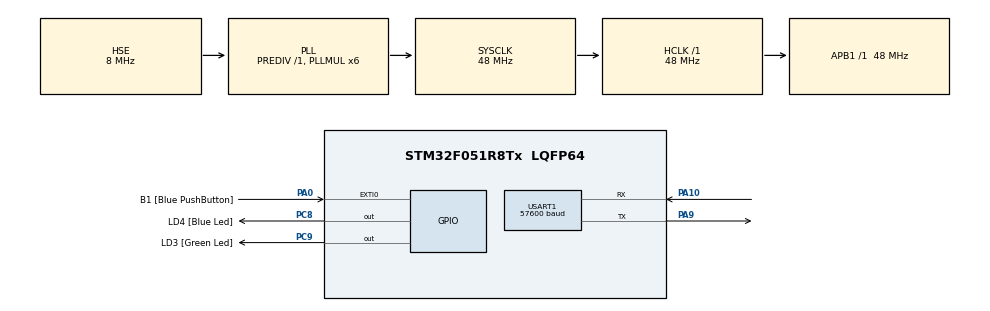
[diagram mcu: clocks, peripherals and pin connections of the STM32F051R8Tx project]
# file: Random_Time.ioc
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Mcu.Family=STM32F0
Mcu.Name=STM32F051R8Tx
Mcu.Package=LQFP64
PA0.GPIO_Label=B1 [Blue PushButton]
PA0.GPIO_ModeDefaultEXTI=GPIO_MODE_EVT_RISING
PA0.Signal=GPXTI0
PA10.Mode=Asynchronous
PA10.Signal=USART1_RX
PA13.GPIO_Label=SWDIO
PA13.Mode=Serial_Wire
PA13.Signal=SYS_SWDIO
PA14.GPIO_Label=SWCLK
PA14.Mode=Serial_Wire
PA14.Signal=SYS_SWCLK
PA9.Mode=Asynchronous
PA9.Signal=USART1_TX
PC8.GPIO_Label=LD4 [Blue Led]
PC8.Signal=GPIO_Output
PC9.GPIO_Label=LD3 [Green Led]
PC9.Signal=GPIO_Output
PF0-OSC_IN.Mode=HSE-External-Clock-Source
PF0-OSC_IN.Signal=RCC_OSC_IN
ProjectManager.HeapSize=0x200
ProjectManager.StackSize=0x400
ProjectManager.TargetToolchain=STM32CubeIDE
RCC.AHBFreq_Value=48000000
RCC.APB1Freq_Value=48000000
RCC.APB1TimFreq_Value=48000000
RCC.HCLKFreq_Value=48000000
RCC.PLLMUL=RCC_PLL_MUL6
RCC.PLLSourceVirtual=RCC_PLLSOURCE_HSE
RCC.SYSCLKFreq_VALUE=48000000
RCC.SYSCLKSource=RCC_SYSCLKSOURCE_PLLCLK
USART1.BaudRate=57600
USART1.Parity=PARITY_EVEN
USART1.VirtualMode-Asynchronous=VM_ASYNC
USART1.WordLength=WORDLENGTH_9B
board=STM32F0DISCOVERY

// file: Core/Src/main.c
/* USER CODE BEGIN Header */
/**
  ******************************************************************************
  * @file           : main.c
  * @brief          : Main program body
  ******************************************************************************
  * @attention
  *
  * Copyright (c) 2022 STMicroelectronics.
  * All rights reserved.
  *
  * This software is licensed under terms that can be found in the LICENSE file
  * in the root directory of this software component.
  * If no LICENSE file comes with this software, it is provided AS-IS.
  *
  ******************************************************************************
  */
/* USER CODE END Header */
#include "main.h"

/* USER CODE BEGIN Includes */
#include "stdlib.h"
#include "stdio.h"
#include "string.h"
/* USER CODE END Includes */

UART_HandleTypeDef huart1;

void SystemClock_Config(void);
static void MX_GPIO_Init(void);
static void MX_USART1_UART_Init(void);
//hello
/* USER CODE BEGIN 0 */

int rand_lim(int limit)
{
	int divisor = RAND_MAX/(limit+1);
	int retval;
	do
	{
		retval= rand()/divisor;
	}while (retval>limit);

	return retval;
}

/* USER CODE END 0 */

int main(void)
{

  /* MCU Configuration--------------------------------------------------------*/

  /* Reset of all peripherals, Initializes the Flash interface and the Systick. */
  HAL_Init();

  /* Configure the system clock */
  SystemClock_Config();

  /* Initialize all configured peripherals */
  MX_GPIO_Init();
  MX_USART1_UART_Init();
  /* USER CODE BEGIN 2 */

  uint8_t data [9];

  int saat,dakika,saniye;

  /* USER CODE END 2 */

  /* Infinite loop */
  while (1)
  {

    /* USER CODE BEGIN 3 */
	  saat=rand_lim(23);
	  dakika=rand_lim(59);
	  saniye=rand_lim(59);
	  sprintf(data,(const char *)"%02d:%02d:%02d",saat,dakika,saniye);
	  HAL_UART_Transmit(&huart1, (uint8_t *)data, 8,10);
	  HAL_Delay(1000);

  }
  /* USER CODE END 3 */
}

void SystemClock_Config(void)
{
  RCC_OscInitTypeDef RCC_OscInitStruct = {0};
  RCC_ClkInitTypeDef RCC_ClkInitStruct = {0};
  RCC_PeriphCLKInitTypeDef PeriphClkInit = {0};

  /** Initializes the RCC Oscillators according to the specified parameters
  * in the RCC_OscInitTypeDef structure.
  */
  RCC_OscInitStruct.OscillatorType = RCC_OSCILLATORTYPE_HSE;
  RCC_OscInitStruct.HSEState = RCC_HSE_BYPASS;
  RCC_OscInitStruct.PLL.PLLState = RCC_PLL_ON;
  RCC_OscInitStruct.PLL.PLLSource = RCC_PLLSOURCE_HSE;
  RCC_OscInitStruct.PLL.PLLMUL = RCC_PLL_MUL6;
  RCC_OscInitStruct.PLL.PREDIV = RCC_PREDIV_DIV1;
  if (HAL_RCC_OscConfig(&RCC_OscInitStruct) != HAL_OK)
  {
    Error_Handler();
  }

  /** Initializes the CPU, AHB and APB buses clocks
  */
  RCC_ClkInitStruct.ClockType = RCC_CLOCKTYPE_HCLK|RCC_CLOCKTYPE_SYSCLK
                              |RCC_CLOCKTYPE_PCLK1;
  RCC_ClkInitStruct.SYSCLKSource = RCC_SYSCLKSOURCE_PLLCLK;
  RCC_ClkInitStruct.AHBCLKDivider = RCC_SYSCLK_DIV1;
  RCC_ClkInitStruct.APB1CLKDivider = RCC_HCLK_DIV1;

  if (HAL_RCC_ClockConfig(&RCC_ClkInitStruct, FLASH_LATENCY_1) != HAL_OK)
  {
    Error_Handler();
  }
  PeriphClkInit.PeriphClockSelection = RCC_PERIPHCLK_USART1;
  PeriphClkInit.Usart1ClockSelection = RCC_USART1CLKSOURCE_PCLK1;
  if (HAL_RCCEx_PeriphCLKConfig(&PeriphClkInit) != HAL_OK)
  {
    Error_Handler();
  }
}

static void MX_USART1_UART_Init(void)
{

  huart1.Instance = USART1;
  huart1.Init.BaudRate = 57600;
  huart1.Init.WordLength = UART_WORDLENGTH_9B;
  huart1.Init.StopBits = UART_STOPBITS_1;
  huart1.Init.Parity = UART_PARITY_EVEN;
  huart1.Init.Mode = UART_MODE_TX_RX;
  huart1.Init.HwFlowCtl = UART_HWCONTROL_NONE;
  huart1.Init.OverSampling = UART_OVERSAMPLING_16;
  huart1.Init.OneBitSampling = UART_ONE_BIT_SAMPLE_DISABLE;
  huart1.AdvancedInit.AdvFeatureInit = UART_ADVFEATURE_NO_INIT;
  if (HAL_UART_Init(&huart1) != HAL_OK)
  {
    Error_Handler();
  }

}

static void MX_GPIO_Init(void)
{
  GPIO_InitTypeDef GPIO_InitStruct = {0};

  /* GPIO Ports Clock Enable */
  __HAL_RCC_GPIOF_CLK_ENABLE();
  __HAL_RCC_GPIOA_CLK_ENABLE();
  __HAL_RCC_GPIOC_CLK_ENABLE();

  /*Configure GPIO pin Output Level */
  HAL_GPIO_WritePin(GPIOC, LD4_Pin|LD3_Pin, GPIO_PIN_RESET);

  /*Configure GPIO pin : B1_Pin */
  GPIO_InitStruct.Pin = B1_Pin;
  GPIO_InitStruct.Mode = GPIO_MODE_EVT_RISING;
  GPIO_InitStruct.Pull = GPIO_NOPULL;
  HAL_GPIO_Init(B1_GPIO_Port, &GPIO_InitStruct);

  /*Configure GPIO pins : LD4_Pin LD3_Pin */
  GPIO_InitStruct.Pin = LD4_Pin|LD3_Pin;
  GPIO_InitStruct.Mode = GPIO_MODE_OUTPUT_PP;
  GPIO_InitStruct.Pull = GPIO_NOPULL;
  GPIO_InitStruct.Speed = GPIO_SPEED_FREQ_LOW;
  HAL_GPIO_Init(GPIOC, &GPIO_InitStruct);

}

void Error_Handler(void)
{
  __disable_irq();
  while (1)
  {
  }
}
